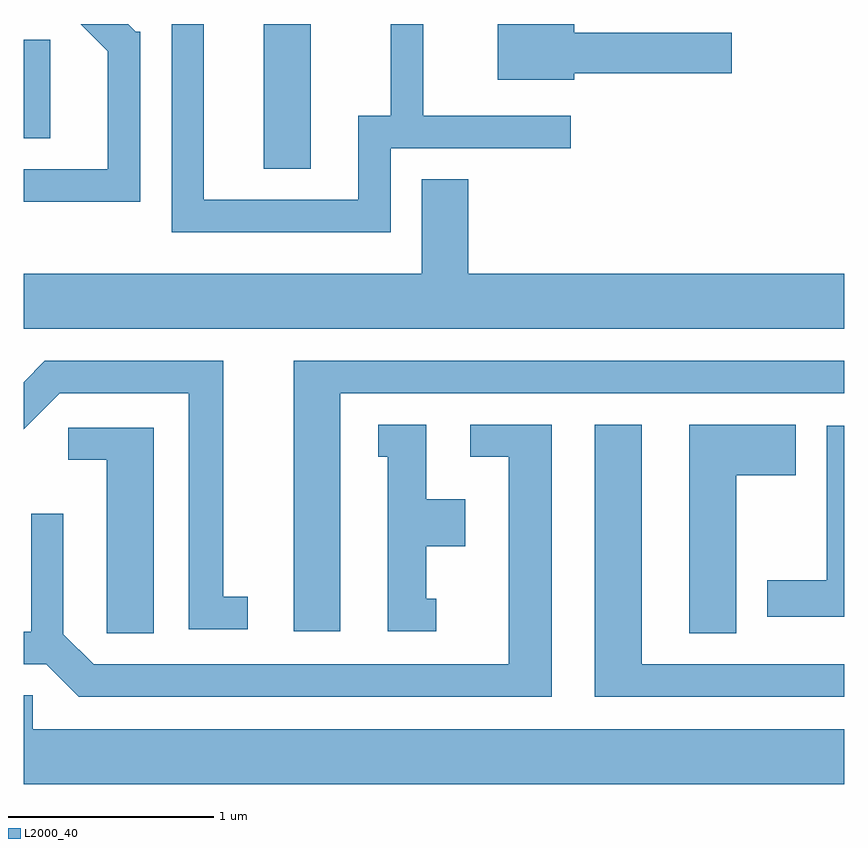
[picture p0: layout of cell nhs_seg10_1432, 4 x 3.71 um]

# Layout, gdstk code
import gdstk
lib = gdstk.Library(unit=1e-6, precision=1e-09)
def R(c, l, rs):  # rectangles x0, y0, x1, y1
    for r in rs: c.add(gdstk.rectangle(r[:2], r[2:], *l))
def P(c, l, *ps):  # polygons
    for p in ps: c.add(gdstk.Polygon(p, *l))
L2000_40 = (2000, 40)

nhs_seg10_1432 = lib.new_cell('nhs_seg10_1432')
R(nhs_seg10_1432, L2000_40, [(228.781,2105.816,229.009,2106.522), (227.611,2105.966,227.739,2106.444)])
P(nhs_seg10_1432, L2000_40, [(229.399,2105.916),(230.278,2105.916),(230.278,2106.074),(229.559,2106.074),(229.559,2106.522),(229.401,2106.522),(229.401,2106.074),(229.241,2106.074),(229.241,2105.664),(228.489,2105.664),(228.489,2106.522),(228.331,2106.522),(228.331,2105.506),(229.399,2105.506)],
  [(230.294,2106.281),(231.064,2106.281),(231.064,2106.479),(230.294,2106.479),(230.294,2106.522),(229.921,2106.522),(229.921,2106.251),(230.294,2106.251)],
  [(228.179,2106.484),(228.157,2106.484),(228.119,2106.522),(227.888,2106.522),(228.021,2106.389),(228.021,2105.814),(227.611,2105.814),(227.611,2105.656),(228.179,2105.656)],
  [(231.611,2105.304),(229.779,2105.304),(229.779,2105.764),(229.551,2105.764),(229.551,2105.304),(227.611,2105.304),(227.611,2105.036),(231.611,2105.036)],
  [(228.703,2103.729),(228.584,2103.729),(228.584,2104.879),(227.714,2104.879),(227.611,2104.776),(227.611,2104.545),(227.787,2104.721),(228.416,2104.721),(228.416,2103.571),(228.703,2103.571)],
  [(229.154,2104.721),(231.611,2104.721),(231.611,2104.879),(228.926,2104.879),(228.926,2103.561),(229.154,2103.561)],
  [(230.184,2104.569),(229.788,2104.569),(229.788,2104.411),(229.976,2104.411),(229.976,2103.399),(227.952,2103.399),(227.804,2103.547),(227.804,2104.133),(227.646,2104.133),(227.646,2103.559),(227.611,2103.559),(227.611,2103.401),(227.719,2103.401),(227.879,2103.241),(230.184,2103.241)],
  [(229.623,2103.719),(229.574,2103.719),(229.574,2103.976),(229.764,2103.976),(229.764,2104.204),(229.574,2104.204),(229.574,2104.569),(229.338,2104.569),(229.338,2104.411),(229.386,2104.411),(229.386,2103.561),(229.623,2103.561)],
  [(231.084,2104.321),(231.374,2104.321),(231.374,2104.569),(230.856,2104.569),(230.856,2103.551),(231.084,2103.551)],
  [(231.611,2103.399),(230.624,2103.399),(230.624,2104.569),(230.396,2104.569),(230.396,2103.241),(231.611,2103.241)],
  [(231.611,2104.564),(231.526,2104.564),(231.526,2103.809),(231.236,2103.809),(231.236,2103.631),(231.611,2103.631)],
  [(228.244,2104.554),(227.828,2104.554),(227.828,2104.396),(228.016,2104.396),(228.016,2103.551),(228.244,2103.551)],
  [(231.611,2103.084),(227.654,2103.084),(227.654,2103.249),(227.611,2103.249),(227.611,2102.816),(231.611,2102.816)])

lib.write_gds('nhs_seg10_1432.gds')
